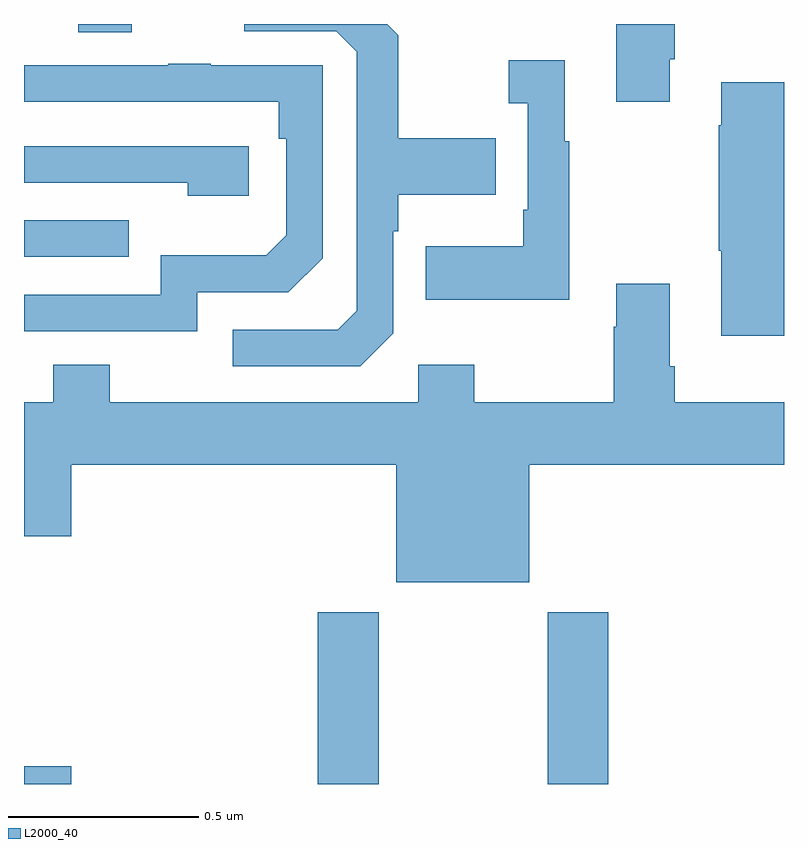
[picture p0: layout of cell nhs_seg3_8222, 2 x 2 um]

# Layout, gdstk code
import gdstk
lib = gdstk.Library(unit=1e-6, precision=1e-09)
def R(c, l, rs):  # rectangles x0, y0, x1, y1
    for r in rs: c.add(gdstk.rectangle(r[:2], r[2:], *l))
def P(c, l, *ps):  # polygons
    for p in ps: c.add(gdstk.Polygon(p, *l))
L2000_40 = (2000, 40)

nhs_seg3_8222 = lib.new_cell('nhs_seg3_8222')
R(nhs_seg3_8222, L2000_40, [(213,709.4,213.124,709.447), (213.773,709.4,213.933,709.852), (214.378,709.4,214.538,709.852), (213,710.787,213.275,710.883), (213.143,711.378,213.283,711.4)])
P(nhs_seg3_8222, L2000_40, [(214.699,711.307),(214.712,711.307),(214.712,711.4),(214.559,711.4),(214.559,711.195),(214.699,711.195)],
  [(213.972,710.586),(213.972,710.855),(213.985,710.855),(213.985,710.951),(214.241,710.951),(214.241,711.099),(213.985,711.099),(213.985,711.371),(213.956,711.4),(213.579,711.4),(213.579,711.381),(213.822,711.381),(213.876,711.327),(213.876,710.646),(213.825,710.595),(213.549,710.595),(213.549,710.499),(213.885,710.499)],
  [(214.435,711.091),(214.423,711.091),(214.423,711.304),(214.275,711.304),(214.275,711.191),(214.326,711.191),(214.326,710.911),(214.314,710.911),(214.314,710.815),(214.057,710.815),(214.057,710.675),(214.435,710.675)],
  [(213.456,710.694),(213.696,710.694),(213.786,710.784),(213.786,711.291),(213.491,711.291),(213.491,711.296),(213.379,711.296),(213.379,711.291),(213,711.291),(213,711.195),(213.67,711.195),(213.67,711.098),(213.69,711.098),(213.69,710.844),(213.637,710.791),(213.36,710.791),(213.36,710.688),(213,710.688),(213,710.592),(213.456,710.592)],
  [(215,711.247),(214.835,711.247),(214.835,711.134),(214.828,711.134),(214.828,710.803),(214.835,710.803),(214.835,710.58),(215,710.58)],
  [(213.592,711.078),(213,711.078),(213,710.982),(213.431,710.982),(213.431,710.948),(213.592,710.948)],
  [(214.33,710.24),(215,710.24),(215,710.404),(214.712,710.404),(214.712,710.5),(214.699,710.5),(214.699,710.716),(214.559,710.716),(214.559,710.603),(214.552,710.603),(214.552,710.404),(214.185,710.404),(214.185,710.503),(214.038,710.503),(214.038,710.404),(213.225,710.404),(213.225,710.503),(213.077,710.503),(213.077,710.404),(213,710.404),(213,710.052),(213.124,710.052),(213.124,710.24),(213.98,710.24),(213.98,709.931),(214.33,709.931)])

lib.write_gds('nhs_seg3_8222.gds')
